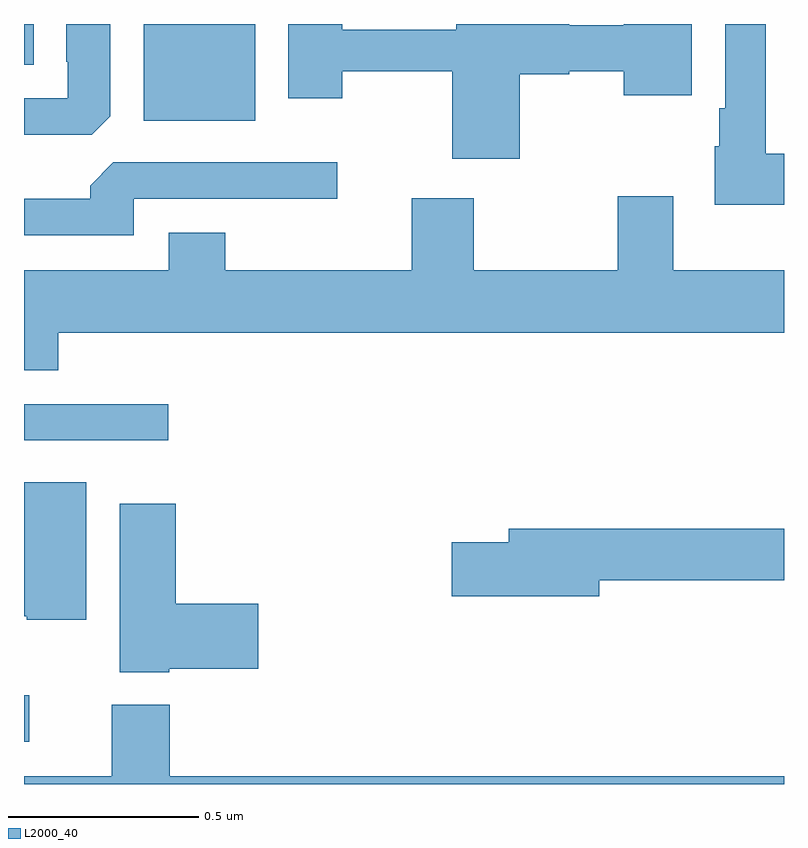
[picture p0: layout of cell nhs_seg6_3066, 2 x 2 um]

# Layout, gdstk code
import gdstk
lib = gdstk.Library(unit=1e-6, precision=1e-09)
def R(c, l, rs):  # rectangles x0, y0, x1, y1
    for r in rs: c.add(gdstk.rectangle(r[:2], r[2:], *l))
def P(c, l, *ps):  # polygons
    for p in ps: c.add(gdstk.Polygon(p, *l))
L2000_40 = (2000, 40)

nhs_seg6_3066 = lib.new_cell('nhs_seg6_3066')
R(nhs_seg6_3066, L2000_40, [(152,927.611,152.014,927.733), (152,928.404,152.38,928.5), (152.315,929.246,152.608,929.5), (152,929.393,152.026,929.5)])
P(nhs_seg6_3066, L2000_40, [(154,929.158),(153.952,929.158),(153.952,929.5),(153.845,929.5),(153.845,929.278),(153.83,929.278),(153.83,929.178),(153.818,929.178),(153.818,929.024),(154,929.024)],
  [(152.227,929.257),(152.227,929.5),(152.111,929.5),(152.111,929.401),(152.115,929.401),(152.115,929.304),(152,929.304),(152,929.208),(152.178,929.208)],
  [(153.305,929.368),(153.435,929.368),(153.435,929.376),(153.578,929.376),(153.578,929.312),(153.757,929.312),(153.757,929.5),(153.578,929.5),(153.578,929.497),(153.435,929.497),(153.435,929.5),(153.138,929.5),(153.138,929.485),(152.838,929.485),(152.838,929.5),(152.696,929.5),(152.696,929.304),(152.838,929.304),(152.838,929.376),(153.127,929.376),(153.127,929.145),(153.305,929.145)],
  [(152.289,929.04),(152.824,929.04),(152.824,929.136),(152.235,929.136),(152.174,929.074),(152.174,929.04),(152,929.04),(152,928.944),(152.289,928.944)],
  [(152.09,928.688),(154,928.688),(154,928.852),(153.709,928.852),(153.709,929.047),(153.562,929.047),(153.562,928.852),(153.184,928.852),(153.184,929.041),(153.02,929.041),(153.02,928.852),(152.529,928.852),(152.529,928.951),(152.381,928.951),(152.381,928.852),(152,928.852),(152,928.589),(152.09,928.589)],
  [(152.164,928.294),(152,928.294),(152,927.941),(152.007,927.941),(152.007,927.932),(152.164,927.932)],
  [(152.382,927.803),(152.617,927.803),(152.617,927.974),(152.399,927.974),(152.399,928.237),(152.252,928.237),(152.252,927.794),(152.382,927.794)],
  [(153.514,928.036),(154,928.036),(154,928.172),(153.275,928.172),(153.275,928.136),(153.126,928.136),(153.126,927.994),(153.514,927.994)],
  [(152.384,927.709),(152.231,927.709),(152.231,927.52),(152,927.52),(152,927.5),(154,927.5),(154,927.52),(152.384,927.52)])

lib.write_gds('nhs_seg6_3066.gds')
